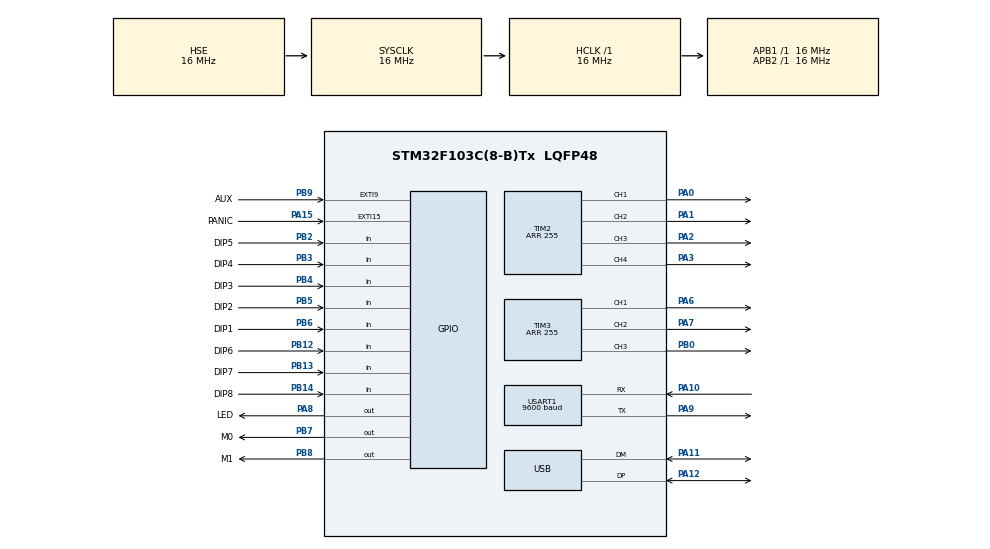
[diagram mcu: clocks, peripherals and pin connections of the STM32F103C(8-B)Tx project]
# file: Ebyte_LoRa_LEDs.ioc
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Dma.Request0=USART1_RX
Dma.Request1=TIM2_CH2/CH4
Dma.TIM2_CH2/CH4.1.Direction=DMA_MEMORY_TO_PERIPH
Dma.TIM2_CH2/CH4.1.Instance=DMA1_Channel7
Dma.TIM2_CH2/CH4.1.MemDataAlignment=DMA_MDATAALIGN_HALFWORD
Dma.TIM2_CH2/CH4.1.MemInc=DMA_MINC_ENABLE
Dma.TIM2_CH2/CH4.1.Mode=DMA_NORMAL
Dma.TIM2_CH2/CH4.1.PeriphDataAlignment=DMA_PDATAALIGN_HALFWORD
Dma.TIM2_CH2/CH4.1.PeriphInc=DMA_PINC_DISABLE
Dma.TIM2_CH2/CH4.1.Priority=DMA_PRIORITY_LOW
Dma.USART1_RX.0.Direction=DMA_PERIPH_TO_MEMORY
Dma.USART1_RX.0.Instance=DMA1_Channel5
Dma.USART1_RX.0.MemDataAlignment=DMA_MDATAALIGN_BYTE
Dma.USART1_RX.0.MemInc=DMA_MINC_ENABLE
Dma.USART1_RX.0.Mode=DMA_NORMAL
Dma.USART1_RX.0.PeriphDataAlignment=DMA_PDATAALIGN_BYTE
Dma.USART1_RX.0.PeriphInc=DMA_PINC_DISABLE
Dma.USART1_RX.0.Priority=DMA_PRIORITY_LOW
Mcu.Family=STM32F1
Mcu.Name=STM32F103C(8-B)Tx
Mcu.Package=LQFP48
NVIC.DMA1_Channel5_IRQn=true\:0\:0\:false\:false\:true\:false\:true\:true
NVIC.DMA1_Channel7_IRQn=true\:0\:0\:false\:false\:true\:false\:true\:true
NVIC.EXTI15_10_IRQn=true\:0\:0\:false\:false\:true\:true\:true\:true
NVIC.EXTI9_5_IRQn=true\:0\:0\:false\:false\:true\:true\:true\:true
NVIC.PriorityGroup=NVIC_PRIORITYGROUP_4
NVIC.TIM2_IRQn=true\:0\:0\:false\:false\:true\:true\:true\:true
NVIC.USART1_IRQn=true\:0\:0\:false\:false\:true\:true\:true\:true
NVIC.USB_HP_CAN1_TX_IRQn=true\:0\:0\:false\:false\:true\:true\:true\:true
NVIC.USB_LP_CAN1_RX0_IRQn=true\:0\:0\:false\:false\:true\:true\:true\:true
PA0-WKUP.Signal=S_TIM2_CH1_ETR
PA1.Signal=S_TIM2_CH2
PA10.Mode=Asynchronous
PA10.Signal=USART1_RX
PA11.Mode=Device
PA11.Signal=USB_DM
PA12.Mode=Device
PA12.Signal=USB_DP
PA13.Mode=Serial_Wire
PA13.Signal=SYS_JTMS-SWDIO
PA14.Mode=Serial_Wire
PA14.Signal=SYS_JTCK-SWCLK
PA15.GPIO_Label=PANIC
PA15.Signal=GPXTI15
PA2.Signal=S_TIM2_CH3
PA3.Signal=S_TIM2_CH4
PA6.Signal=S_TIM3_CH1
PA7.Signal=S_TIM3_CH2
PA8.GPIO_Label=LED
PA8.Signal=GPIO_Output
PA9.Mode=Asynchronous
PA9.Signal=USART1_TX
PB0.Signal=S_TIM3_CH3
PB12.GPIO_Label=DIP6
PB12.GPIO_PuPd=GPIO_PULLDOWN
PB12.Signal=GPIO_Input
PB13.GPIO_Label=DIP7
PB13.GPIO_PuPd=GPIO_PULLDOWN
PB13.Signal=GPIO_Input
PB14.GPIO_Label=DIP8
PB14.GPIO_PuPd=GPIO_PULLDOWN
PB14.Signal=GPIO_Input
PB2.GPIO_Label=DIP5
PB2.GPIO_PuPd=GPIO_PULLDOWN
PB2.Signal=GPIO_Input
PB3.GPIO_Label=DIP4
PB3.GPIO_PuPd=GPIO_PULLDOWN
PB3.Signal=GPIO_Input
PB4.GPIO_Label=DIP3
PB4.GPIO_PuPd=GPIO_PULLDOWN
PB4.Signal=GPIO_Input
PB5.GPIO_Label=DIP2
PB5.GPIO_PuPd=GPIO_PULLDOWN
PB5.Signal=GPIO_Input
PB6.GPIO_Label=DIP1
PB6.GPIO_PuPd=GPIO_PULLDOWN
PB6.Signal=GPIO_Input
PB7.GPIO_Label=M0
PB7.Signal=GPIO_Output
PB8.GPIO_Label=M1
PB8.Signal=GPIO_Output
PB9.GPIO_Label=AUX
PB9.Signal=GPXTI9
PD0-OSC_IN.Mode=HSE-External-Oscillator
PD0-OSC_IN.Signal=RCC_OSC_IN
PD1-OSC_OUT.Mode=HSE-External-Oscillator
PD1-OSC_OUT.Signal=RCC_OSC_OUT
ProjectManager.HeapSize=0x200
ProjectManager.StackSize=0x400
ProjectManager.TargetToolchain=STM32CubeIDE
RCC.AHBFreq_Value=16000000
RCC.APB1Freq_Value=16000000
RCC.APB1TimFreq_Value=16000000
RCC.APB2Freq_Value=16000000
RCC.APB2TimFreq_Value=16000000
RCC.HCLKFreq_Value=16000000
RCC.HSE_VALUE=16000000
RCC.PLLMUL=RCC_PLL_MUL3
RCC.SYSCLKFreq_VALUE=16000000
RCC.SYSCLKSource=RCC_SYSCLKSOURCE_HSE
RCC.USBFreq_Value=48000000
SH.S_TIM2_CH1_ETR.0=TIM2_CH1,PWM Generation1 CH1
SH.S_TIM2_CH2.0=TIM2_CH2,PWM Generation2 CH2
SH.S_TIM2_CH3.0=TIM2_CH3,PWM Generation3 CH3
SH.S_TIM2_CH4.0=TIM2_CH4,PWM Generation4 CH4
SH.S_TIM3_CH1.0=TIM3_CH1,PWM Generation1 CH1
SH.S_TIM3_CH2.0=TIM3_CH2,PWM Generation2 CH2
SH.S_TIM3_CH3.0=TIM3_CH3,PWM Generation3 CH3
TIM2.AutoReloadPreload=TIM_AUTORELOAD_PRELOAD_DISABLE
TIM2.Channel-PWM\ Generation1\ CH1=TIM_CHANNEL_1
TIM2.Channel-PWM\ Generation2\ CH2=TIM_CHANNEL_2
TIM2.Channel-PWM\ Generation3\ CH3=TIM_CHANNEL_3
TIM2.Channel-PWM\ Generation4\ CH4=TIM_CHANNEL_4
TIM2.Period=255
TIM3.Channel-PWM\ Generation1\ CH1=TIM_CHANNEL_1
TIM3.Channel-PWM\ Generation2\ CH2=TIM_CHANNEL_2
TIM3.Channel-PWM\ Generation3\ CH3=TIM_CHANNEL_3
TIM3.Period=255
USART1.BaudRate=9600
USART1.VirtualMode=VM_ASYNC
USB_DEVICE.CLASS_NAME_FS=DFU
USB_DEVICE.USBD_DEBUG_LEVEL=3
USB_DEVICE.VirtualMode=Dfu
USB_DEVICE.VirtualModeFS=Dfu_FS
VP_USB_DEVICE_VS_USB_DEVICE_DFU_FS.Mode=DFU_FS
board=custom

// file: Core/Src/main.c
/* USER CODE BEGIN Header */
/**
  ******************************************************************************
  * @file           : main.c
  * @brief          : Main program body
  ******************************************************************************
  * @attention
  *
  * Copyright (c) 2023 STMicroelectronics.
  * All rights reserved.
  *
  * This software is licensed under terms that can be found in the LICENSE file
  * in the root directory of this software component.
  * If no LICENSE file comes with this software, it is provided AS-IS.
  *
  ******************************************************************************
  */
/* USER CODE END Header */
#include "main.h"
#include "usb_device.h"

/* USER CODE BEGIN PD */

#define MODE 1
#define MAX_LED 8
#define USE_BRIGHTNESS 1

/* USER CODE END PD */

TIM_HandleTypeDef htim2;
TIM_HandleTypeDef htim3;
DMA_HandleTypeDef hdma_tim2_ch2_ch4;

UART_HandleTypeDef huart1;
DMA_HandleTypeDef hdma_usart1_rx;

/* USER CODE BEGIN PV */
//UART
uint8_t Tx_data[58];
uint8_t Rx_data[58];
uint8_t DMX_data[512];
uint8_t our_data[8]; //[r1][g1][b1][fade1][r2][g2][b2][fade2]

//Addressable LED
uint8_t LED_Data[MAX_LED][4];
uint8_t LED_Mod[MAX_LED][4];  // for brightness

//ID
uint8_t DIP_ID;

//Panic button flag
uint8_t panic = 0;

uint8_t datasentflag = 0;

/* USER CODE END PV */

void SystemClock_Config(void);
static void MX_GPIO_Init(void);
static void MX_DMA_Init(void);
static void MX_TIM2_Init(void);
static void MX_TIM3_Init(void);
static void MX_USART1_UART_Init(void);

/* USER CODE BEGIN 0 */

void initialise_e32()
{
	  HAL_GPIO_WritePin(M1_GPIO_Port, M1_Pin, GPIO_PIN_SET);
	  HAL_GPIO_WritePin(M0_GPIO_Port, M0_Pin, GPIO_PIN_SET);

	  memset(Tx_data, 0xC1, 3);

	  HAL_UART_Transmit(&huart1, Tx_data, 3, 1000);

	  HAL_UART_Receive(&huart1, Rx_data, 6, 1000);

	  HAL_Delay(100);

	  Tx_data[0] = 0xC0;//head
	  Tx_data[1] = 0x00;//addrl
	  Tx_data[2] = 0x00;//addrh
	  Tx_data[3] = 0x3D;
	  Tx_data[4] = 0x17;
	  Tx_data[5] = 0x80;

	  HAL_UART_Transmit(&huart1, Tx_data, 6, 1000);

	  HAL_UART_Receive(&huart1, Rx_data, 6, 1000);

	  HAL_Delay(100);

	  memset(Tx_data, 0xC1, 3);

	  memset(Rx_data, 0, sizeof(Rx_data));

	  HAL_UART_Transmit(&huart1, Tx_data, 3, 1000);

	  HAL_UART_Receive(&huart1, Rx_data, 6, 1000);

	  HAL_Delay(100);

	  HAL_GPIO_WritePin(M1_GPIO_Port, M1_Pin, GPIO_PIN_RESET);
	  HAL_GPIO_WritePin(M0_GPIO_Port, M0_Pin, GPIO_PIN_RESET);

	  HAL_Delay(100);

	  USART1 -> CR1 &= ~(USART_CR1_UE);
	  USART1 -> BRR = 0x8b;
	  USART1 -> CR1 |= USART_CR1_UE;
}

uint8_t get_id(){

	uint8_t id = 0;

	if (HAL_GPIO_ReadPin(DIP1_GPIO_Port, DIP1_Pin)){
		id |= 0b00000001;
	}

	if (HAL_GPIO_ReadPin(DIP2_GPIO_Port, DIP2_Pin)){
		id |= 0b00000010;
	}

	if (HAL_GPIO_ReadPin(DIP3_GPIO_Port, DIP3_Pin)){
		id |= 0b00000100;
	}

	if (HAL_GPIO_ReadPin(DIP4_GPIO_Port, DIP4_Pin)){
		id |= 0b00001000;
	}

	if (HAL_GPIO_ReadPin(DIP5_GPIO_Port, DIP5_Pin)){
		id |= 0b00010000;
	}

	if (HAL_GPIO_ReadPin(DIP6_GPIO_Port, DIP6_Pin)){
		id |= 0b00100000;
	}

	if (HAL_GPIO_ReadPin(DIP7_GPIO_Port, DIP7_Pin)){
		id |= 0b01000000;
	}

	if (HAL_GPIO_ReadPin(DIP8_GPIO_Port, DIP8_Pin)){
		id |= 0b10000000;
	}

	return id;
}

//https://controllerstech.com/interface-ws2812-with-stm32/
void Set_LED (int LEDnum, int Red, int Green, int Blue)
{
	LED_Data[LEDnum][0] = LEDnum;
	LED_Data[LEDnum][1] = Green;
	LED_Data[LEDnum][2] = Red;
	LED_Data[LEDnum][3] = Blue;
}

#define PI 3.14159265

void Set_Brightness (int brightness)  // 0-45
{
#if USE_BRIGHTNESS

	if (brightness > 45) brightness = 45;
	for (int i=0; i<MAX_LED; i++)
	{
		LED_Mod[i][0] = LED_Data[i][0];
		for (int j=1; j<4; j++)
		{
			float angle = 90-brightness;  // in degrees
			angle = angle*PI / 180;  // in rad
			LED_Mod[i][j] = (LED_Data[i][j])/(tan(angle));
		}
	}

#endif

}

uint16_t pwmData[(24*MAX_LED)+50];

void WS2812_Send (void)
{
	uint32_t indx=0;
	uint32_t color;

	for (int i= 0; i<MAX_LED; i++)
	{
#if USE_BRIGHTNESS
		color = ((LED_Mod[i][1]<<16) | (LED_Mod[i][2]<<8) | (LED_Mod[i][3]));
#else
		color = ((LED_Data[i][1]<<16) | (LED_Data[i][2]<<8) | (LED_Data[i][3]));
#endif

		for (int i=23; i>=0; i--)
		{
			if (color&(1<<i))
			{
				pwmData[indx] = 13;  // 2/3 of 90
			}

			else pwmData[indx] = 6;  // 1/3 of 90

			indx++;
		}

	}

	for (int i=0; i<50; i++)
	{
		pwmData[indx] = 0;
		indx++;
	}

	HAL_TIM_PWM_Start_DMA(&htim2, TIM_CHANNEL_4, (uint32_t *)pwmData, indx);
	while (!datasentflag){};
	datasentflag = 0;
}

/* USER CODE END 0 */

int main(void)
{

  /* MCU Configuration--------------------------------------------------------*/

  /* Reset of all peripherals, Initializes the Flash interface and the Systick. */
  HAL_Init();

  /* Configure the system clock */
  SystemClock_Config();

  /* Initialize all configured peripherals */
  MX_GPIO_Init();
  MX_DMA_Init();
  MX_TIM2_Init();
  MX_TIM3_Init();
  MX_USART1_UART_Init();
  MX_USB_DEVICE_Init();
  /* USER CODE BEGIN 2 */

  DIP_ID = get_id();

  initialise_e32();

  // enable LINE IDLE detect
  HAL_UARTEx_ReceiveToIdle_DMA(&huart1, (uint8_t *) Rx_data, sizeof(Rx_data));
  __HAL_DMA_DISABLE_IT(&hdma_usart1_rx, DMA_IT_HT);

  //Dumb RGB strip mode
  if (MODE == 1){
	  //Start timers
	  HAL_TIM_PWM_Start(&htim2, TIM_CHANNEL_1);
	  HAL_TIM_PWM_Start(&htim2, TIM_CHANNEL_2);
	  HAL_TIM_PWM_Start(&htim2, TIM_CHANNEL_3);
	  HAL_TIM_PWM_Start(&htim3, TIM_CHANNEL_1);
	  HAL_TIM_PWM_Start(&htim3, TIM_CHANNEL_2);
	  HAL_TIM_PWM_Start(&htim3, TIM_CHANNEL_3);
  } else if(MODE == 2){
	  TIM2 -> ARR = 20;
  }

  /* USER CODE END 2 */

  /* Infinite loop */
  while (1)
  {

    /* USER CODE BEGIN 3 */

	  while (panic == 1){
		  TIM2->CCR1 = 255;
		  TIM2->CCR2 = 255;
		  TIM2->CCR3 = 255;
		  TIM3->CCR1 = 255;
		  TIM3->CCR2 = 255;
		  TIM3->CCR3 = 255;
	  }

	  //Test by using RealTerm. Open the COM port of the E32 device (and optionally select Hex in Display As) and go to the Send tab. Using the Send Numbers button it's possible to send integers instead of ASCII characters.

	  //Copy data and put it in our array
	  memcpy(&our_data, &DMX_data[DIP_ID*8], 8);

	  switch (MODE) {
		case 1:
			TIM2->CCR1 = our_data[0];
			TIM2->CCR2 = our_data[1];
		    TIM2->CCR3= our_data[2];
		    TIM3->CCR1 = our_data[4];
		    TIM3->CCR2 = our_data[5];
		    TIM3->CCR3 = our_data[6];
			break;

		case 2:
			for (uint8_t i = 1; i < MAX_LED; ++i)
			  {
				Set_LED(i, our_data[0], our_data[1], our_data[2]);
				Set_Brightness(our_data[4]); //Can use channel 5 as fade for example :)
				WS2812_Send();
			  }
			break;

		default:
			break;
	}
  }
  /* USER CODE END 3 */
}

void SystemClock_Config(void)
{
  RCC_OscInitTypeDef RCC_OscInitStruct = {0};
  RCC_ClkInitTypeDef RCC_ClkInitStruct = {0};
  RCC_PeriphCLKInitTypeDef PeriphClkInit = {0};

  /** Initializes the RCC Oscillators according to the specified parameters
  * in the RCC_OscInitTypeDef structure.
  */
  RCC_OscInitStruct.OscillatorType = RCC_OSCILLATORTYPE_HSE;
  RCC_OscInitStruct.HSEState = RCC_HSE_ON;
  RCC_OscInitStruct.HSEPredivValue = RCC_HSE_PREDIV_DIV1;
  RCC_OscInitStruct.HSIState = RCC_HSI_ON;
  RCC_OscInitStruct.PLL.PLLState = RCC_PLL_ON;
  RCC_OscInitStruct.PLL.PLLSource = RCC_PLLSOURCE_HSE;
  RCC_OscInitStruct.PLL.PLLMUL = RCC_PLL_MUL3;
  if (HAL_RCC_OscConfig(&RCC_OscInitStruct) != HAL_OK)
  {
    Error_Handler();
  }

  /** Initializes the CPU, AHB and APB buses clocks
  */
  RCC_ClkInitStruct.ClockType = RCC_CLOCKTYPE_HCLK|RCC_CLOCKTYPE_SYSCLK
                              |RCC_CLOCKTYPE_PCLK1|RCC_CLOCKTYPE_PCLK2;
  RCC_ClkInitStruct.SYSCLKSource = RCC_SYSCLKSOURCE_HSE;
  RCC_ClkInitStruct.AHBCLKDivider = RCC_SYSCLK_DIV1;
  RCC_ClkInitStruct.APB1CLKDivider = RCC_HCLK_DIV1;
  RCC_ClkInitStruct.APB2CLKDivider = RCC_HCLK_DIV1;

  if (HAL_RCC_ClockConfig(&RCC_ClkInitStruct, FLASH_LATENCY_0) != HAL_OK)
  {
    Error_Handler();
  }
  PeriphClkInit.PeriphClockSelection = RCC_PERIPHCLK_USB;
  PeriphClkInit.UsbClockSelection = RCC_USBCLKSOURCE_PLL;
  if (HAL_RCCEx_PeriphCLKConfig(&PeriphClkInit) != HAL_OK)
  {
    Error_Handler();
  }
}

static void MX_TIM2_Init(void)
{

  TIM_MasterConfigTypeDef sMasterConfig = {0};
  TIM_OC_InitTypeDef sConfigOC = {0};

  htim2.Instance = TIM2;
  htim2.Init.Prescaler = 0;
  htim2.Init.CounterMode = TIM_COUNTERMODE_UP;
  htim2.Init.Period = 255;
  htim2.Init.ClockDivision = TIM_CLOCKDIVISION_DIV1;
  htim2.Init.AutoReloadPreload = TIM_AUTORELOAD_PRELOAD_DISABLE;
  if (HAL_TIM_PWM_Init(&htim2) != HAL_OK)
  {
    Error_Handler();
  }
  sMasterConfig.MasterOutputTrigger = TIM_TRGO_RESET;
  sMasterConfig.MasterSlaveMode = TIM_MASTERSLAVEMODE_DISABLE;
  if (HAL_TIMEx_MasterConfigSynchronization(&htim2, &sMasterConfig) != HAL_OK)
  {
    Error_Handler();
  }
  sConfigOC.OCMode = TIM_OCMODE_PWM1;
  sConfigOC.Pulse = 0;
  sConfigOC.OCPolarity = TIM_OCPOLARITY_HIGH;
  sConfigOC.OCFastMode = TIM_OCFAST_DISABLE;
  if (HAL_TIM_PWM_ConfigChannel(&htim2, &sConfigOC, TIM_CHANNEL_1) != HAL_OK)
  {
    Error_Handler();
  }
  if (HAL_TIM_PWM_ConfigChannel(&htim2, &sConfigOC, TIM_CHANNEL_2) != HAL_OK)
  {
    Error_Handler();
  }
  if (HAL_TIM_PWM_ConfigChannel(&htim2, &sConfigOC, TIM_CHANNEL_3) != HAL_OK)
  {
    Error_Handler();
  }
  if (HAL_TIM_PWM_ConfigChannel(&htim2, &sConfigOC, TIM_CHANNEL_4) != HAL_OK)
  {
    Error_Handler();
  }
  HAL_TIM_MspPostInit(&htim2);

}

static void MX_TIM3_Init(void)
{

  TIM_MasterConfigTypeDef sMasterConfig = {0};
  TIM_OC_InitTypeDef sConfigOC = {0};

  htim3.Instance = TIM3;
  htim3.Init.Prescaler = 0;
  htim3.Init.CounterMode = TIM_COUNTERMODE_UP;
  htim3.Init.Period = 255;
  htim3.Init.ClockDivision = TIM_CLOCKDIVISION_DIV1;
  htim3.Init.AutoReloadPreload = TIM_AUTORELOAD_PRELOAD_DISABLE;
  if (HAL_TIM_PWM_Init(&htim3) != HAL_OK)
  {
    Error_Handler();
  }
  sMasterConfig.MasterOutputTrigger = TIM_TRGO_RESET;
  sMasterConfig.MasterSlaveMode = TIM_MASTERSLAVEMODE_DISABLE;
  if (HAL_TIMEx_MasterConfigSynchronization(&htim3, &sMasterConfig) != HAL_OK)
  {
    Error_Handler();
  }
  sConfigOC.OCMode = TIM_OCMODE_PWM1;
  sConfigOC.Pulse = 0;
  sConfigOC.OCPolarity = TIM_OCPOLARITY_HIGH;
  sConfigOC.OCFastMode = TIM_OCFAST_DISABLE;
  if (HAL_TIM_PWM_ConfigChannel(&htim3, &sConfigOC, TIM_CHANNEL_1) != HAL_OK)
  {
    Error_Handler();
  }
  if (HAL_TIM_PWM_ConfigChannel(&htim3, &sConfigOC, TIM_CHANNEL_2) != HAL_OK)
  {
    Error_Handler();
  }
  if (HAL_TIM_PWM_ConfigChannel(&htim3, &sConfigOC, TIM_CHANNEL_3) != HAL_OK)
  {
    Error_Handler();
  }
  HAL_TIM_MspPostInit(&htim3);

}

static void MX_USART1_UART_Init(void)
{

  huart1.Instance = USART1;
  huart1.Init.BaudRate = 9600;
  huart1.Init.WordLength = UART_WORDLENGTH_8B;
  huart1.Init.StopBits = UART_STOPBITS_1;
  huart1.Init.Parity = UART_PARITY_NONE;
  huart1.Init.Mode = UART_MODE_TX_RX;
  huart1.Init.HwFlowCtl = UART_HWCONTROL_NONE;
  huart1.Init.OverSampling = UART_OVERSAMPLING_16;
  if (HAL_UART_Init(&huart1) != HAL_OK)
  {
    Error_Handler();
  }

}

static void MX_DMA_Init(void)
{

  /* DMA controller clock enable */
  __HAL_RCC_DMA1_CLK_ENABLE();

  /* DMA interrupt init */
  /* DMA1_Channel5_IRQn interrupt configuration */
  HAL_NVIC_SetPriority(DMA1_Channel5_IRQn, 0, 0);
  HAL_NVIC_EnableIRQ(DMA1_Channel5_IRQn);
  /* DMA1_Channel7_IRQn interrupt configuration */
  HAL_NVIC_SetPriority(DMA1_Channel7_IRQn, 0, 0);
  HAL_NVIC_EnableIRQ(DMA1_Channel7_IRQn);

}

static void MX_GPIO_Init(void)
{
  GPIO_InitTypeDef GPIO_InitStruct = {0};

  /* GPIO Ports Clock Enable */
  __HAL_RCC_GPIOD_CLK_ENABLE();
  __HAL_RCC_GPIOA_CLK_ENABLE();
  __HAL_RCC_GPIOB_CLK_ENABLE();

  /*Configure GPIO pin Output Level */
  HAL_GPIO_WritePin(LED_GPIO_Port, LED_Pin, GPIO_PIN_RESET);

  /*Configure GPIO pin Output Level */
  HAL_GPIO_WritePin(GPIOB, M0_Pin|M1_Pin, GPIO_PIN_RESET);

  /*Configure GPIO pins : DIP5_Pin DIP6_Pin DIP7_Pin DIP8_Pin
                           DIP4_Pin DIP3_Pin DIP2_Pin DIP1_Pin */
  GPIO_InitStruct.Pin = DIP5_Pin|DIP6_Pin|DIP7_Pin|DIP8_Pin
                          |DIP4_Pin|DIP3_Pin|DIP2_Pin|DIP1_Pin;
  GPIO_InitStruct.Mode = GPIO_MODE_INPUT;
  GPIO_InitStruct.Pull = GPIO_PULLDOWN;
  HAL_GPIO_Init(GPIOB, &GPIO_InitStruct);

  /*Configure GPIO pin : LED_Pin */
  GPIO_InitStruct.Pin = LED_Pin;
  GPIO_InitStruct.Mode = GPIO_MODE_OUTPUT_PP;
  GPIO_InitStruct.Pull = GPIO_NOPULL;
  GPIO_InitStruct.Speed = GPIO_SPEED_FREQ_LOW;
  HAL_GPIO_Init(LED_GPIO_Port, &GPIO_InitStruct);

  /*Configure GPIO pin : PANIC_Pin */
  GPIO_InitStruct.Pin = PANIC_Pin;
  GPIO_InitStruct.Mode = GPIO_MODE_IT_RISING;
  GPIO_InitStruct.Pull = GPIO_NOPULL;
  HAL_GPIO_Init(PANIC_GPIO_Port, &GPIO_InitStruct);

  /*Configure GPIO pins : M0_Pin M1_Pin */
  GPIO_InitStruct.Pin = M0_Pin|M1_Pin;
  GPIO_InitStruct.Mode = GPIO_MODE_OUTPUT_PP;
  GPIO_InitStruct.Pull = GPIO_NOPULL;
  GPIO_InitStruct.Speed = GPIO_SPEED_FREQ_LOW;
  HAL_GPIO_Init(GPIOB, &GPIO_InitStruct);

  /*Configure GPIO pin : AUX_Pin */
  GPIO_InitStruct.Pin = AUX_Pin;
  GPIO_InitStruct.Mode = GPIO_MODE_IT_RISING;
  GPIO_InitStruct.Pull = GPIO_NOPULL;
  HAL_GPIO_Init(AUX_GPIO_Port, &GPIO_InitStruct);

  /* EXTI interrupt init*/
  HAL_NVIC_SetPriority(EXTI9_5_IRQn, 0, 0);
  HAL_NVIC_EnableIRQ(EXTI9_5_IRQn);

  HAL_NVIC_SetPriority(EXTI15_10_IRQn, 0, 0);
  HAL_NVIC_EnableIRQ(EXTI15_10_IRQn);

}

/* USER CODE BEGIN 4 */
/*
void HAL_UART_RxCpltCallback(UART_HandleTypeDef *huart)
{
	HAL_GPIO_TogglePin(LED_GPIO_Port, LED_Pin);
	HAL_UART_Receive_IT(&huart1, Rx_data, 40);
}
*/

void HAL_UARTEx_RxEventCallback(UART_HandleTypeDef *huart, uint16_t Size)
{
	if (huart->Instance == USART1)
	{

		// https://controllerstech.com/uart-dma-with-idle-line-detection/

		//check if total data receiving is not exceeding 512 bytes (check for whether data belongs to us)
		if (Rx_data[0] <= Rx_data[1] && Rx_data[1] <= 10){
			//calculate offset
			int offset = (Rx_data[0] - 1) * 56;
			//Copy to DMX_data + offset of the receiving data, copy from Rx_data minus the message info, with the size of 56
			memcpy(&DMX_data[offset], &Rx_data[2], 56);
		}

		// empty the RX array
		memset(Rx_data, 0, sizeof(Rx_data));

		//toggle LED
		HAL_GPIO_TogglePin(LED_GPIO_Port, LED_Pin);

		/* start the DMA again */
		HAL_UARTEx_ReceiveToIdle_DMA(&huart1, (uint8_t *) Rx_data, sizeof(Rx_data));
		__HAL_DMA_DISABLE_IT(&hdma_usart1_rx, DMA_IT_HT);

	}
}

void HAL_TIM_PWM_PulseFinishedCallback(TIM_HandleTypeDef *htim)
{
	HAL_TIM_PWM_Stop_DMA(&htim2, TIM_CHANNEL_4);
	datasentflag=1;
}

void HAL_GPIO_EXTI_Callback(uint16_t GPIO_Pin){
	switch(GPIO_Pin){
		case AUX_Pin:
			break;

		case PANIC_Pin:
			panic = !panic;
			break;
		default:
			break;
	}
}

/* USER CODE END 4 */

void Error_Handler(void)
{
  __disable_irq();
  while (1)
  {
  }
}
